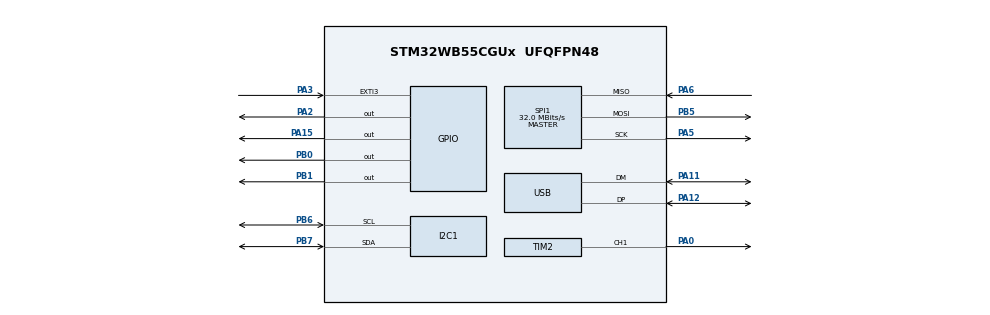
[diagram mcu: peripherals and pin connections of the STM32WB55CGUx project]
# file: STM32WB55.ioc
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Dma.Request0=SPI1_TX
Dma.SPI1_TX.0.Direction=DMA_MEMORY_TO_PERIPH
Dma.SPI1_TX.0.EventEnable=DISABLE
Dma.SPI1_TX.0.Instance=DMA1_Channel1
Dma.SPI1_TX.0.MemDataAlignment=DMA_MDATAALIGN_BYTE
Dma.SPI1_TX.0.MemInc=DMA_MINC_ENABLE
Dma.SPI1_TX.0.Mode=DMA_NORMAL
Dma.SPI1_TX.0.PeriphDataAlignment=DMA_PDATAALIGN_BYTE
Dma.SPI1_TX.0.PeriphInc=DMA_PINC_DISABLE
Dma.SPI1_TX.0.Polarity=HAL_DMAMUX_REQ_GEN_RISING
Dma.SPI1_TX.0.Priority=DMA_PRIORITY_MEDIUM
Dma.SPI1_TX.0.RequestNumber=1
Dma.SPI1_TX.0.SignalID=NONE
Dma.SPI1_TX.0.SyncEnable=DISABLE
Dma.SPI1_TX.0.SyncPolarity=HAL_DMAMUX_SYNC_NO_EVENT
Dma.SPI1_TX.0.SyncRequestNumber=1
Dma.SPI1_TX.0.SyncSignalID=NONE
I2C1.Timing=0x10B17DB5
Mcu.Family=STM32WB
Mcu.Name=STM32WB55CGUx
Mcu.Package=UFQFPN48
NVIC.DMA1_Channel1_IRQn=true\:0\:0\:false\:false\:true\:false\:true\:true
NVIC.PriorityGroup=NVIC_PRIORITYGROUP_4
NVIC.USB_LP_IRQn=true\:0\:0\:false\:false\:true\:false\:true\:true
PA0.Signal=S_TIM2_CH1
PA11.Mode=Device
PA11.Signal=USB_DM
PA12.Mode=Device
PA12.Signal=USB_DP
PA15.GPIO_Speed=GPIO_SPEED_FREQ_HIGH
PA15.PinState=GPIO_PIN_SET
PA15.Signal=GPIO_Output
PA2.GPIO_PuPd=GPIO_NOPULL
PA2.GPIO_Speed=GPIO_SPEED_FREQ_LOW
PA2.PinState=GPIO_PIN_SET
PA2.Signal=GPIO_Output
PA3.GPIO_ModeDefaultEXTI=GPIO_MODE_IT_FALLING
PA3.GPIO_PuPd=GPIO_PULLUP
PA3.Signal=GPXTI3
PA5.GPIO_Speed=GPIO_SPEED_FREQ_VERY_HIGH
PA5.Mode=Full_Duplex_Master
PA5.Signal=SPI1_SCK
PA6.GPIO_Speed=GPIO_SPEED_FREQ_VERY_HIGH
PA6.Mode=Full_Duplex_Master
PA6.Signal=SPI1_MISO
PB0.GPIO_Speed=GPIO_SPEED_FREQ_HIGH
PB0.PinState=GPIO_PIN_SET
PB0.Signal=GPIO_Output
PB1.GPIO_Speed=GPIO_SPEED_FREQ_HIGH
PB1.PinState=GPIO_PIN_SET
PB1.Signal=GPIO_Output
PB5.GPIO_Speed=GPIO_SPEED_FREQ_VERY_HIGH
PB5.Mode=Full_Duplex_Master
PB5.Signal=SPI1_MOSI
PB6.Mode=I2C
PB6.Signal=I2C1_SCL
PB7.Mode=I2C
PB7.Signal=I2C1_SDA
ProjectManager.HeapSize=0x200
ProjectManager.StackSize=0x400
ProjectManager.TargetToolchain=STM32CubeIDE
RCC.ADCFreq_Value=48000000
RCC.AHB2CLKDivider=RCC_SYSCLK_DIV2
RCC.AHBFreq_Value=64000000
RCC.APB1Freq_Value=64000000
RCC.APB1TimFreq_Value=64000000
RCC.APB2Freq_Value=64000000
RCC.APB2TimFreq_Value=64000000
RCC.APB3Freq_Value=16000000
RCC.Cortex2_Div=SYSTICK_CLKSOURCE_HCLK_DIV8
RCC.CortexFreq_Value=64000000
RCC.HCLKFreq_Value=64000000
RCC.HSE_VALUE=8000000
RCC.HSI48_VALUE=48000000
RCC.HSI_VALUE=16000000
RCC.LSE_VALUE=32768
RCC.PLLN=32
RCC.PLLSAI1N=24
RCC.SYSCLKFreq_VALUE=64000000
RCC.SYSCLKSource=RCC_SYSCLKSOURCE_PLLCLK
RCC.USBFreq_Value=48000000
RCC.VCOOutputFreq_Value=128000000
SH.S_TIM2_CH1.0=TIM2_CH1,PWM Generation1 CH1
SPI1.BaudRatePrescaler=SPI_BAUDRATEPRESCALER_2
SPI1.CalculateBaudRate=32.0 MBits/s
SPI1.DataSize=SPI_DATASIZE_8BIT
SPI1.Direction=SPI_DIRECTION_2LINES
SPI1.Mode=SPI_MODE_MASTER
SPI1.NSSPMode=SPI_NSS_PULSE_DISABLE
SPI1.VirtualType=VM_MASTER
TIM2.Channel-PWM\ Generation1\ CH1=TIM_CHANNEL_1
TIM2.Period=99
TIM2.Prescaler=63
TIM2.Pulse-PWM\ Generation1\ CH1=10
USB_DEVICE.CLASS_NAME_FS=CDC
USB_DEVICE.VirtualMode=Cdc
USB_DEVICE.VirtualModeFS=Cdc_FS
VP_MEMORYMAP_VS_MEMORYMAP.Mode=CurAppReg
VP_TIM2_VS_ClockSourceINT.Mode=Internal
VP_TIM2_VS_NoETR.Mode=ETR_as_clearing_source_through_remap_TIM2
VP_USB_DEVICE_VS_USB_DEVICE_CDC_FS.Mode=CDC_FS
board=custom

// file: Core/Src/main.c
/* USER CODE BEGIN Header */
/**
  ******************************************************************************
  * @file           : main.c
  * @brief          : Main program body
  ******************************************************************************
  * @attention
  *
  * Copyright (c) 2025 STMicroelectronics.
  * All rights reserved.
  *
  * This software is licensed under terms that can be found in the LICENSE file
  * in the root directory of this software component.
  * If no LICENSE file comes with this software, it is provided AS-IS.
  *
  ******************************************************************************
  */
/* USER CODE END Header */
#include "main.h"
#include "usb_device.h"

/* USER CODE BEGIN Includes */
#include "st7789.h"
#include "infinitime_adapter.h"
/* USER CODE END Includes */

I2C_HandleTypeDef hi2c1;

SPI_HandleTypeDef hspi1;
DMA_HandleTypeDef hdma_spi1_tx;

TIM_HandleTypeDef htim2;

void SystemClock_Config(void);
void PeriphCommonClock_Config(void);
static void MX_GPIO_Init(void);
static void MX_DMA_Init(void);
static void MX_SPI1_Init(void);
static void MX_I2C1_Init(void);
static void MX_TIM2_Init(void);

int main(void)
{

  /* MCU Configuration--------------------------------------------------------*/

  /* Reset of all peripherals, Initializes the Flash interface and the Systick. */
  HAL_Init();

  /* Configure the system clock */
  SystemClock_Config();

  /* Configure the peripherals common clocks */
  PeriphCommonClock_Config();

  /* Initialize all configured peripherals */
  MX_GPIO_Init();
  MX_DMA_Init();
  /* MX_USB_Device_Init(); */  /* 暂时禁用USB，排查系统卡死问题 */
  MX_SPI1_Init();
  MX_I2C1_Init();
  MX_TIM2_Init();
  /* USER CODE BEGIN 2 */

  /* 初始化 LCD 驱动（GPIO + 硬件复位 + 初始化序列） */
  ST7789_Init();

  /* 初始化 InfiniTime UI（触摸 + LVGL + 界面） */
  infinitime_ui_init();

  /* USER CODE END 2 */

  /* Infinite loop */
  /* USER CODE BEGIN WHILE */

  /* 外部心跳计数声明 */
  extern volatile uint32_t g_heartbeat;
  volatile uint32_t main_heartbeat = 0;

  while (1)
  {
    /* USER CODE END WHILE */

    /* USER CODE BEGIN 3 */
    main_heartbeat++;

    /* 更新背光软件PWM */
    ST7789_BacklightTick();

    /* 处理UI任务 */
    infinitime_ui_task();
  }
  /* USER CODE END 3 */
}

void SystemClock_Config(void)
{
  RCC_OscInitTypeDef RCC_OscInitStruct = {0};
  RCC_ClkInitTypeDef RCC_ClkInitStruct = {0};

  /** Configure the main internal regulator output voltage
  */
  __HAL_PWR_VOLTAGESCALING_CONFIG(PWR_REGULATOR_VOLTAGE_SCALE1);

  /** Initializes the RCC Oscillators according to the specified parameters
  * in the RCC_OscInitTypeDef structure.
  */
  RCC_OscInitStruct.OscillatorType = RCC_OSCILLATORTYPE_HSI|RCC_OSCILLATORTYPE_LSE
                              |RCC_OSCILLATORTYPE_MSI;
  RCC_OscInitStruct.LSEState = RCC_LSE_OFF;
  RCC_OscInitStruct.HSIState = RCC_HSI_ON;
  RCC_OscInitStruct.MSIState = RCC_MSI_ON;
  RCC_OscInitStruct.HSICalibrationValue = RCC_HSICALIBRATION_DEFAULT;
  RCC_OscInitStruct.MSICalibrationValue = RCC_MSICALIBRATION_DEFAULT;
  RCC_OscInitStruct.MSIClockRange = RCC_MSIRANGE_6;
  RCC_OscInitStruct.PLL.PLLState = RCC_PLL_ON;
  RCC_OscInitStruct.PLL.PLLSource = RCC_PLLSOURCE_MSI;
  RCC_OscInitStruct.PLL.PLLM = RCC_PLLM_DIV1;
  RCC_OscInitStruct.PLL.PLLN = 32;
  RCC_OscInitStruct.PLL.PLLP = RCC_PLLP_DIV2;
  RCC_OscInitStruct.PLL.PLLR = RCC_PLLR_DIV2;
  RCC_OscInitStruct.PLL.PLLQ = RCC_PLLQ_DIV2;
  if (HAL_RCC_OscConfig(&RCC_OscInitStruct) != HAL_OK)
  {
    Error_Handler();
  }

  /** Configure the SYSCLKSource, HCLK, PCLK1 and PCLK2 clocks dividers
  */
  RCC_ClkInitStruct.ClockType = RCC_CLOCKTYPE_HCLK4|RCC_CLOCKTYPE_HCLK2
                              |RCC_CLOCKTYPE_HCLK|RCC_CLOCKTYPE_SYSCLK
                              |RCC_CLOCKTYPE_PCLK1|RCC_CLOCKTYPE_PCLK2;
  RCC_ClkInitStruct.SYSCLKSource = RCC_SYSCLKSOURCE_PLLCLK;
  RCC_ClkInitStruct.AHBCLKDivider = RCC_SYSCLK_DIV1;
  RCC_ClkInitStruct.APB1CLKDivider = RCC_HCLK_DIV1;
  RCC_ClkInitStruct.APB2CLKDivider = RCC_HCLK_DIV1;
  RCC_ClkInitStruct.AHBCLK2Divider = RCC_SYSCLK_DIV2;
  RCC_ClkInitStruct.AHBCLK4Divider = RCC_SYSCLK_DIV1;

  if (HAL_RCC_ClockConfig(&RCC_ClkInitStruct, FLASH_LATENCY_3) != HAL_OK)
  {
    Error_Handler();
  }

  /** Enable MSI Auto calibration
  */
  HAL_RCCEx_EnableMSIPLLMode();
}

void PeriphCommonClock_Config(void)
{
  RCC_PeriphCLKInitTypeDef PeriphClkInitStruct = {0};

  /** Initializes the peripherals clock
  */
  PeriphClkInitStruct.PeriphClockSelection = RCC_PERIPHCLK_SMPS;
  PeriphClkInitStruct.SmpsClockSelection = RCC_SMPSCLKSOURCE_HSI;
  PeriphClkInitStruct.SmpsDivSelection = RCC_SMPSCLKDIV_RANGE1;

  if (HAL_RCCEx_PeriphCLKConfig(&PeriphClkInitStruct) != HAL_OK)
  {
    Error_Handler();
  }
}

static void MX_I2C1_Init(void)
{

  /* USER CODE BEGIN I2C1_Init 0 */
  hi2c1.Init.Timing = 0x00707CBB;
  /* USER CODE END I2C1_Init 0 */

  hi2c1.Instance = I2C1;
  hi2c1.Init.Timing = 0x10B17DB5;
  hi2c1.Init.OwnAddress1 = 0;
  hi2c1.Init.AddressingMode = I2C_ADDRESSINGMODE_7BIT;
  hi2c1.Init.DualAddressMode = I2C_DUALADDRESS_DISABLE;
  hi2c1.Init.OwnAddress2 = 0;
  hi2c1.Init.OwnAddress2Masks = I2C_OA2_NOMASK;
  hi2c1.Init.GeneralCallMode = I2C_GENERALCALL_DISABLE;
  hi2c1.Init.NoStretchMode = I2C_NOSTRETCH_DISABLE;
  if (HAL_I2C_Init(&hi2c1) != HAL_OK)
  {
    Error_Handler();
  }

  /** Configure Analogue filter
  */
  if (HAL_I2CEx_ConfigAnalogFilter(&hi2c1, I2C_ANALOGFILTER_ENABLE) != HAL_OK)
  {
    Error_Handler();
  }

  /** Configure Digital filter
  */
  if (HAL_I2CEx_ConfigDigitalFilter(&hi2c1, 0) != HAL_OK)
  {
    Error_Handler();
  }

}

static void MX_SPI1_Init(void)
{

  /* SPI1 parameter configuration*/
  hspi1.Instance = SPI1;
  hspi1.Init.Mode = SPI_MODE_MASTER;
  hspi1.Init.Direction = SPI_DIRECTION_2LINES;
  hspi1.Init.DataSize = SPI_DATASIZE_8BIT;
  hspi1.Init.CLKPolarity = SPI_POLARITY_LOW;
  hspi1.Init.CLKPhase = SPI_PHASE_1EDGE;
  hspi1.Init.NSS = SPI_NSS_SOFT;
  hspi1.Init.BaudRatePrescaler = SPI_BAUDRATEPRESCALER_2;
  hspi1.Init.FirstBit = SPI_FIRSTBIT_MSB;
  hspi1.Init.TIMode = SPI_TIMODE_DISABLE;
  hspi1.Init.CRCCalculation = SPI_CRCCALCULATION_DISABLE;
  hspi1.Init.CRCPolynomial = 7;
  hspi1.Init.CRCLength = SPI_CRC_LENGTH_DATASIZE;
  hspi1.Init.NSSPMode = SPI_NSS_PULSE_DISABLE;
  if (HAL_SPI_Init(&hspi1) != HAL_OK)
  {
    Error_Handler();
  }
  /* USER CODE BEGIN SPI1_Init 2 */

  // 额外的SPI配置
  __HAL_SPI_ENABLE(&hspi1);

  /* USER CODE END SPI1_Init 2 */

}

static void MX_TIM2_Init(void)
{

  TIM_ClockConfigTypeDef sClockSourceConfig = {0};
  TIM_MasterConfigTypeDef sMasterConfig = {0};
  TIM_OC_InitTypeDef sConfigOC = {0};

  htim2.Instance = TIM2;
  htim2.Init.Prescaler = 63;
  htim2.Init.CounterMode = TIM_COUNTERMODE_UP;
  htim2.Init.Period = 99;
  htim2.Init.ClockDivision = TIM_CLOCKDIVISION_DIV1;
  htim2.Init.AutoReloadPreload = TIM_AUTORELOAD_PRELOAD_DISABLE;
  if (HAL_TIM_Base_Init(&htim2) != HAL_OK)
  {
    Error_Handler();
  }
  sClockSourceConfig.ClockSource = TIM_CLOCKSOURCE_INTERNAL;
  if (HAL_TIM_ConfigClockSource(&htim2, &sClockSourceConfig) != HAL_OK)
  {
    Error_Handler();
  }
  if (HAL_TIM_PWM_Init(&htim2) != HAL_OK)
  {
    Error_Handler();
  }
  sMasterConfig.MasterOutputTrigger = TIM_TRGO_RESET;
  sMasterConfig.MasterSlaveMode = TIM_MASTERSLAVEMODE_DISABLE;
  if (HAL_TIMEx_MasterConfigSynchronization(&htim2, &sMasterConfig) != HAL_OK)
  {
    Error_Handler();
  }
  sConfigOC.OCMode = TIM_OCMODE_PWM1;
  sConfigOC.Pulse = 10;
  sConfigOC.OCPolarity = TIM_OCPOLARITY_HIGH;
  sConfigOC.OCFastMode = TIM_OCFAST_DISABLE;
  if (HAL_TIM_PWM_ConfigChannel(&htim2, &sConfigOC, TIM_CHANNEL_1) != HAL_OK)
  {
    Error_Handler();
  }
  if (HAL_TIMEx_RemapConfig(&htim2, TIM_TIM2_ETR_COMP1) != HAL_OK)
  {
    Error_Handler();
  }
  HAL_TIM_MspPostInit(&htim2);

}

static void MX_DMA_Init(void)
{

  /* DMA controller clock enable */
  __HAL_RCC_DMAMUX1_CLK_ENABLE();
  __HAL_RCC_DMA1_CLK_ENABLE();

  /* DMA interrupt init */
  /* DMA1_Channel1_IRQn interrupt configuration */
  HAL_NVIC_SetPriority(DMA1_Channel1_IRQn, 3, 0);
  HAL_NVIC_EnableIRQ(DMA1_Channel1_IRQn);

}

static void MX_GPIO_Init(void)
{
  GPIO_InitTypeDef GPIO_InitStruct = {0};

  /* GPIO Ports Clock Enable */
  __HAL_RCC_GPIOA_CLK_ENABLE();
  __HAL_RCC_GPIOB_CLK_ENABLE();

  /*Configure GPIO pin Output Level */
  HAL_GPIO_WritePin(GPIOA, GPIO_PIN_2|GPIO_PIN_15, GPIO_PIN_SET);

  /*Configure GPIO pin Output Level */
  HAL_GPIO_WritePin(GPIOB, GPIO_PIN_0|GPIO_PIN_1, GPIO_PIN_SET);

  /*Configure GPIO pin : PA2 */
  GPIO_InitStruct.Pin = GPIO_PIN_2;
  GPIO_InitStruct.Mode = GPIO_MODE_OUTPUT_PP;
  GPIO_InitStruct.Pull = GPIO_NOPULL;
  GPIO_InitStruct.Speed = GPIO_SPEED_FREQ_LOW;
  HAL_GPIO_Init(GPIOA, &GPIO_InitStruct);

  /*Configure GPIO pin : PA3 */
  GPIO_InitStruct.Pin = GPIO_PIN_3;
  GPIO_InitStruct.Mode = GPIO_MODE_IT_FALLING;
  GPIO_InitStruct.Pull = GPIO_PULLUP;
  HAL_GPIO_Init(GPIOA, &GPIO_InitStruct);

  /*Configure GPIO pins : PB0 PB1 */
  GPIO_InitStruct.Pin = GPIO_PIN_0|GPIO_PIN_1;
  GPIO_InitStruct.Mode = GPIO_MODE_OUTPUT_PP;
  GPIO_InitStruct.Pull = GPIO_NOPULL;
  GPIO_InitStruct.Speed = GPIO_SPEED_FREQ_HIGH;
  HAL_GPIO_Init(GPIOB, &GPIO_InitStruct);

  /*Configure GPIO pin : PA15 */
  GPIO_InitStruct.Pin = GPIO_PIN_15;
  GPIO_InitStruct.Mode = GPIO_MODE_OUTPUT_PP;
  GPIO_InitStruct.Pull = GPIO_NOPULL;
  GPIO_InitStruct.Speed = GPIO_SPEED_FREQ_HIGH;
  HAL_GPIO_Init(GPIOA, &GPIO_InitStruct);

  /* USER CODE BEGIN MX_GPIO_Init_2 */

  /* CubeIDE 把 PA2(TP_RST)/PB1(LCD_RST)/PB0(LCD_DC)/PA15(LCD_CS) 初始化为低电平，
   * 导致 LCD 和触摸芯片一直处于复位状态。在此修正初始电平。 */
  HAL_GPIO_WritePin(GPIOA, GPIO_PIN_2, GPIO_PIN_SET);   /* TP_RST = HIGH，释放触摸复位 */
  HAL_GPIO_WritePin(GPIOB, GPIO_PIN_1, GPIO_PIN_SET);   /* LCD_RST = HIGH，释放LCD复位 */
  HAL_GPIO_WritePin(GPIOB, GPIO_PIN_0, GPIO_PIN_SET);   /* LCD_DC = HIGH，默认数据模式 */
  HAL_GPIO_WritePin(GPIOA, GPIO_PIN_15, GPIO_PIN_SET);  /* LCD_CS = HIGH，未选中 */

  /* 修正 PA3 触摸中断配置：下降沿触发 + 上拉 */
  GPIO_InitStruct.Pin = GPIO_PIN_3;
  GPIO_InitStruct.Mode = GPIO_MODE_IT_FALLING;
  GPIO_InitStruct.Pull = GPIO_PULLUP;
  HAL_GPIO_Init(GPIOA, &GPIO_InitStruct);

  /* 使能 EXTI3 中断 */
  HAL_NVIC_SetPriority(EXTI3_IRQn, 5, 0);
  HAL_NVIC_EnableIRQ(EXTI3_IRQn);

  /* USER CODE END MX_GPIO_Init_2 */
}

void Error_Handler(void)
{
  /* USER CODE BEGIN Error_Handler_Debug */
  /* User can add his own implementation to report the HAL error return state */
  /* 注意：不要禁用中断，让调试信息继续更新 */
  /* __disable_irq(); */  /* 注释掉，避免系统完全卡死 */
  while (1)
  {
    /* 错误处理循环，但保持中断启用 */
  }
  /* USER CODE END Error_Handler_Debug */
}
